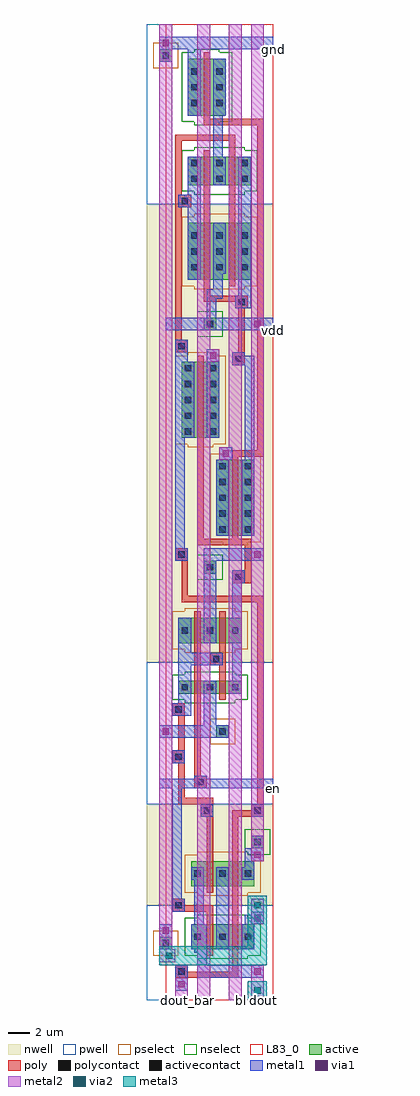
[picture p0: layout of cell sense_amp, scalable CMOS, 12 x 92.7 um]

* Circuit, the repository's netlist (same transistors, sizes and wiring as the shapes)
.SUBCKT sense_amp bl br dout dout_bar en vdd gnd
M1 dout1 dout_bar vdd vdd p w=5.4u l=0.6u 
M2 dout1 dout_bar net_2 gnd n w=2.7u l=0.6u  
M3 dout_bar dout1 vdd vdd p w=5.4u l=0.6u  
M4 dout_bar dout1 net_2 gnd n w=2.7u l=0.6u  
M5 bl en1 dout1 vdd p w=7.2u l=0.6u  
M6 br en1 dout_bar vdd p w=7.2u l=0.6u  
M7 net_2 en1 gnd gnd n w=5.4u l=0.6u
M8 en_bar en vdd vdd p w=2.4u l=0.6u
M9 en_bar en gnd gnd n w=1.2u l=0.6u
M10 en1 en_bar vdd vdd p w=2.4u l=0.6u
M11 en1 en_bar gnd gnd n w=1.2u l=0.6u
M12 dout en 1 gnd n w=2.4u l=0.6u
M13 dout en_bar 1 vdd p w=2.4u l=0.6u
M14 1 dout_bar gnd gnd n w=2.4u l=0.6u
M15 1 dout_bar vdd vdd p w=2.4u l=0.6u  
.ENDS sense_amp

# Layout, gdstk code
import gdstk
lib = gdstk.Library(unit=1e-6, precision=1e-09)
def R(c, l, rs):  # rectangles x0, y0, x1, y1
    for r in rs: c.add(gdstk.rectangle(r[:2], r[2:], *l))
def A(c, l, x, y, w, h, nx, ny, dx, dy):  # array of equal rectangles
    R(c, l, [(x+i*dx, y+j*dy, x+i*dx+w, y+j*dy+h) for i in range(nx) for j in range(ny)])
pwell = (41, 0)
nwell = (42, 0)
active = (43, 0)
pselect = (44, 0)
nselect = (45, 0)
poly = (46, 0)
polycontact = (47, 0)
activecontact = (48, 0)
metal1 = (49, 0)
via1 = (50, 0)
metal2 = (51, 0)
via2 = (61, 0)
metal3 = (62, 0)
L83_0 = (83, 0)

sense_amp = lib.new_cell('sense_amp')
R(sense_amp, pwell, [(-1.8,0,10.2,9), (-1.8,18.6,10.2,32.1), (-1.8,75.6,10.2,92.7)])
R(sense_amp, nwell, [(-1.8,9,10.2,18.6), (-1.8,32.1,10.2,75.6)])
R(sense_amp, active, [(-0.6,4.8,0.6,6), (2.4,4.8,8.4,7.2), (2.4,10.8,8.4,13.2), (8.1,14.4,9.3,15.6), (4.8,24.9,6,26.1), (1.2,29.1,7.2,30.3), (1.2,33.9,7.2,36.3), (3.6,40.5,4.8,41.7), (4.8,44.1,8.4,51.3), (1.5,53.4,5.1,60.6), (3.6,63.6,4.8,64.8), (2.1,68.4,8.1,73.8), (2.1,77.4,8.1,80.1), (2.1,84,5.7,89.4), (-0.6,89.1,0.6,90.3)])
R(sense_amp, pselect, [(-1.2,4.2,1.2,6.6), (3,9.9,7.8,10.2), (1.8,10.2,9,13.8), (3,13.8,7.8,14.1), (4.2,24.3,6.6,26.7), (1.8,33,6.6,33.3), (0.6,33.3,7.8,36.9), (1.8,36.9,6.6,37.2), (5.4,43.2,7.8,43.5), (4.2,43.5,9,51.9), (5.4,51.9,7.8,52.2), (2.1,52.5,4.5,52.8), (0.9,52.8,5.7,61.2), (2.1,61.2,4.5,61.5), (2.7,67.5,7.5,67.8), (1.5,67.8,8.7,74.4), (2.7,74.4,7.5,74.7), (-1.2,88.5,1.2,90.9)])
R(sense_amp, nselect, [(3,3.9,7.8,4.2), (1.8,4.2,9,7.8), (3,7.8,7.8,8.1), (7.8,13.8,9.9,14.1), (7.5,14.1,9.9,16.2), (1.8,28.2,6.6,28.5), (0.6,28.5,7.8,30.9), (1.8,30.9,6.6,31.2), (3,39.9,5.4,42.3), (3,63,5.4,65.4), (2.7,76.5,7.5,76.8), (1.5,76.8,8.7,80.7), (2.7,80.7,7.5,81), (2.7,83.1,5.1,83.4), (1.5,83.4,6.3,90), (2.7,90,5.1,90.3)])
R(sense_amp, poly, [(0.9,2.1,6.9,2.7), (0.9,2.7,2.1,3.3), (6.3,2.7,6.9,17.4), (3.9,4.2,4.5,8.4), (0.6,8.4,4.5,9), (0.6,9,1.8,9.6), (3.9,10.2,4.5,17.4), (3.3,17.4,4.5,18.6), (6.3,17.4,9.3,18), (8.1,18,9.3,18.6), (1.2,18.6,4.5,19.2), (8.7,18.6,9.3,37.8), (1.2,19.2,1.8,22.5), (2.7,20.1,3.9,21.3), (2.7,21.3,3.3,36.9), (0.6,22.5,1.8,23.7), (1.2,23.7,1.8,27), (0.6,27,1.8,28.2), (5.1,28.5,5.7,31.8), (4.2,31.8,5.7,33), (5.1,33,5.7,36.9), (1.5,37.8,9.3,38.4), (1.5,38.4,2.1,41.7), (6.3,39.6,8.1,40.8), (7.5,40.8,8.1,43.2), (0.9,41.7,2.1,42.9), (3,43.2,8.1,43.8), (3,43.8,3.6,61.2), (6.3,43.8,6.9,51.6), (6.3,51.6,9.3,52.2), (8.7,52.2,9.3,83.1), (6.3,60.3,7.5,61.5), (0.9,61.5,2.1,62.7), (6.9,61.5,7.5,65.7), (0.9,62.7,1.5,75.3), (6.6,65.7,7.8,66.3), (3.6,66.3,7.8,66.9), (3.6,66.9,4.2,80.7), (6,67.8,6.6,81.6), (0.9,75.3,2.4,76.5), (0.9,76.5,1.5,81.6), (0.9,81.6,6.6,82.2), (3.6,83.1,9.3,83.7), (3.6,83.7,4.2,90)])
R(sense_amp, polycontact, [(1.2,2.4,1.8,3), (0.9,8.7,1.5,9.3), (3.6,17.7,4.2,18.3), (8.4,17.7,9,18.3), (3,20.4,3.6,21), (0.9,22.8,1.5,23.4), (0.9,27.3,1.5,27.9), (4.5,32.1,5.1,32.7), (6.6,39.9,7.2,40.5), (1.2,42,1.8,42.6), (6.6,60.6,7.2,61.2), (1.2,61.8,1.8,62.4), (6.9,66,7.5,66.6), (1.5,75.6,2.1,76.2)])
A(sense_amp, activecontact, 2.7, 5.7, 0.6, 0.6, 3, 2, 2.4, 6)
A(sense_amp, activecontact, 1.5, 29.4, 0.6, 0.6, 3, 2, 2.4, 5.4)
A(sense_amp, activecontact, 5.1, 44.4, 0.6, 0.6, 1, 5, 0, 1.5)
A(sense_amp, activecontact, 7.5, 44.4, 0.6, 0.6, 1, 5, 0, 1.5)
A(sense_amp, activecontact, 1.8, 53.7, 0.6, 0.6, 1, 5, 0, 1.5)
A(sense_amp, activecontact, 4.2, 53.7, 0.6, 0.6, 1, 5, 0, 1.5)
A(sense_amp, activecontact, 2.4, 69.3, 0.6, 0.6, 3, 3, 2.4, 1.5)
A(sense_amp, activecontact, 2.4, 77.7, 0.6, 0.6, 3, 2, 2.4, 1.5)
A(sense_amp, activecontact, 2.4, 84.9, 0.6, 0.6, 1, 3, 0, 1.5)
A(sense_amp, activecontact, 4.8, 84.9, 0.6, 0.6, 1, 3, 0, 1.5)
R(sense_amp, activecontact, [(-0.3,5.1,0.3,5.7), (8.4,14.7,9,15.3), (5.1,25.2,5.7,25.8), (3.9,40.8,4.5,41.4), (3.9,63.9,4.5,64.5), (-0.3,89.4,0.3,90)])
R(sense_amp, metal1, [(0.9,0.9,2.1,3.3), (3,2.1,9.3,3.3), (3,3.3,3.9,4.5), (2.7,4.5,3.9,4.8), (-0.6,4.8,0.6,7.2), (2.4,4.8,3.9,7.2), (4.8,4.8,6,12.6), (7.2,4.8,8.4,7.2), (2.7,7.2,3.6,11.4), (7.5,7.2,9.3,8.1), (8.1,8.1,9.3,8.4), (0.6,8.4,1.8,9.6), (0.6,9.6,1.5,20.1), (2.4,11.4,3.6,12.6), (7.2,11.4,8.4,12.6), (7.5,12.6,8.4,13.2), (7.5,13.2,9.3,14.4), (8.1,14.4,9.3,15.6), (3.3,17.4,4.5,18.6), (8.1,17.4,9.3,18.6), (-0.6,20.1,10.2,21), (2.7,21,3.9,21.3), (0.6,22.5,1.8,23.7), (-0.6,24.9,6,26.1), (3.6,26.1,4.8,30.3), (0.6,27,2.4,28.2), (1.2,28.2,2.4,31.8), (6,29.1,7.2,30.3), (6.3,30.3,7.2,33.9), (1.2,31.8,5.4,33), (1.2,33,2.4,36.3), (3.6,33.9,4.8,41.7), (6,33.9,7.2,36.3), (6.3,36.3,7.2,39.6), (6.3,39.6,7.5,40.8), (0.9,41.7,2.1,42.9), (3.6,41.7,9.3,42.9), (0.9,42.9,1.8,53.4), (4.8,44.1,6,51.3), (7.2,44.1,8.4,51.3), (5.1,51.3,6.3,52.5), (7.5,51.3,8.4,60.3), (0.9,53.4,2.7,60.6), (3.9,53.4,5.1,61.8), (6.3,60.3,8.4,61.2), (0.9,60.6,2.1,62.7), (6.3,61.2,7.5,61.5), (0,63.6,10.2,64.8), (3.9,64.8,4.8,66.6), (6.6,65.7,8.1,66.9), (3.9,66.6,5.4,67.5), (6.9,66.9,8.1,80.1), (4.5,67.5,5.4,69), (2.1,68.4,3.3,75.3), (4.5,69,5.7,73.8), (1.2,75.3,3.3,76.5), (2.1,76.5,3.3,80.1), (4.5,77.4,5.7,80.1), (4.5,80.1,5.4,84), (2.1,84,3.3,90.3), (4.5,84,5.7,89.4), (-0.6,89.1,0.6,90.3), (-0.6,90.3,10.2,91.5)])
R(sense_amp, via1, [(1.2,1.2,1.8,1.8), (8.4,2.4,9,3), (-0.3,6.3,0.3,6.9), (8.4,7.5,9,8.1), (8.4,13.5,9,14.1), (-0.3,25.2,0.3,25.8), (8.4,42,9,42.6), (5.4,51.6,6,52.2), (4.2,60.9,4.8,61.5), (8.4,63.9,9,64.5), (-0.3,90.6,0.3,91.2)])
R(sense_amp, metal2, [(0.9,0,2.1,2.1), (3,0,4.2,60.6), (6,0,7.2,51.3), (8.1,0.3,9.3,3.3), (-0.6,3.6,0.9,4.8), (-0.6,4.8,0.6,92.7), (8.1,7.2,9.3,9.6), (8.1,13.2,9.3,92.7), (5.1,51.3,7.2,52.5), (6,52.5,7.2,92.7), (3,60.6,5.1,61.8), (3,61.8,4.2,92.7)])
R(sense_amp, via2, [(8.4,0.6,9,1.2), (0,3.9,0.6,4.5), (8.4,8.7,9,9.3)])
R(sense_amp, metal3, [(7.8,0,9.6,1.8), (-0.6,3.3,9.6,5.1), (7.8,5.1,9.6,9.9)])
R(sense_amp, L83_0, [(0,0,10.2,92.7)])
sense_amp.add(gdstk.Label('vdd', (10.2,63.6), layer=49, texttype=0))
sense_amp.add(gdstk.Label('gnd', (10.2,90.3), layer=49, texttype=0))
sense_amp.add(gdstk.Label('en', (10.2,20.1), layer=49, texttype=0))
sense_amp.add(gdstk.Label('dout', (9.3,0), layer=62, texttype=0))
sense_amp.add(gdstk.Label('bl', (7.2,0), layer=51, texttype=0))
sense_amp.add(gdstk.Label('dout_bar', (2.1,0), layer=51, texttype=0))
sense_amp.add(gdstk.Label('br', (3.9,0), layer=51, texttype=0))

lib.write_gds('sense_amp.gds')
